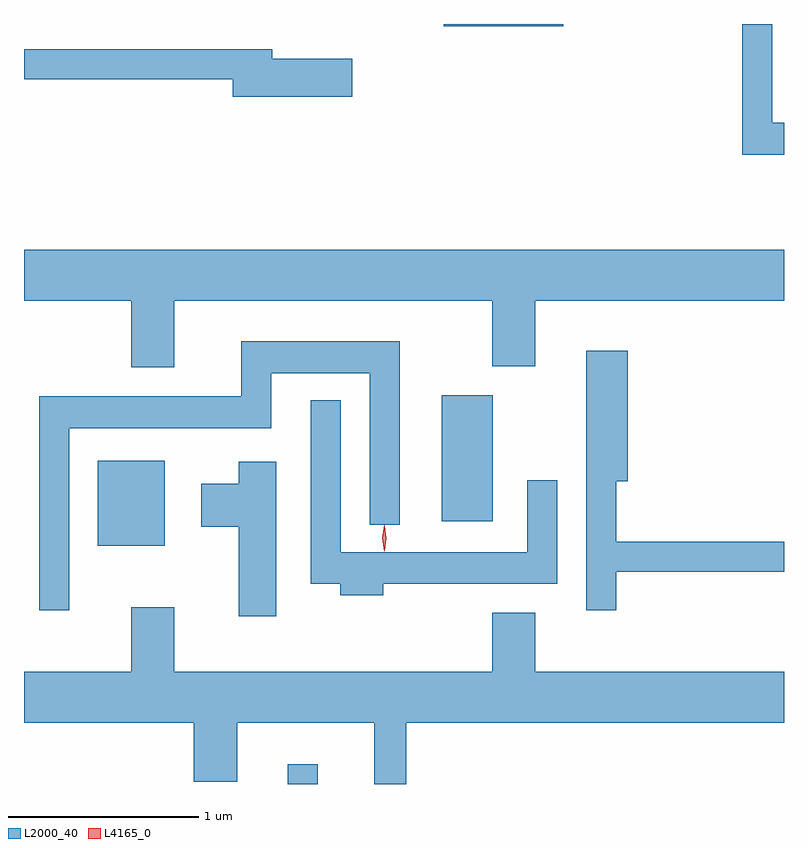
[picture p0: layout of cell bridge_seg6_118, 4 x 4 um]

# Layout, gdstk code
import gdstk
lib = gdstk.Library(unit=1e-6, precision=1e-09)
def R(c, l, rs):  # rectangles x0, y0, x1, y1
    for r in rs: c.add(gdstk.rectangle(r[:2], r[2:], *l))
def P(c, l, *ps):  # polygons
    for p in ps: c.add(gdstk.Polygon(p, *l))
L2000_40 = (2000, 40)
L4165_0 = (4165, 0)

bridge_seg6_118 = lib.new_cell('bridge_seg6_118')
R(bridge_seg6_118, L2000_40, [(1050.276,1605.213,1050.434,1605.318), (1049.276,1606.466,1049.629,1606.914), (1051.086,1606.596,1051.354,1607.259), (1051.096,1609.201,1051.724,1609.213)])
P(bridge_seg6_118, L2000_40, [(1052.887,1608.694),(1052.824,1608.694),(1052.824,1609.213),(1052.666,1609.213),(1052.666,1608.526),(1052.887,1608.526)],
  [(1050.614,1609.029),(1050.194,1609.029),(1050.194,1609.079),(1048.887,1609.079),(1048.887,1608.921),(1049.986,1608.921),(1049.986,1608.831),(1050.614,1608.831)],
  [(1049.679,1607.756),(1051.351,1607.756),(1051.351,1607.411),(1051.579,1607.411),(1051.579,1607.756),(1052.887,1607.756),(1052.887,1608.024),(1048.887,1608.024),(1048.887,1607.756),(1049.451,1607.756),(1049.451,1607.406),(1049.679,1607.406)],
  [(1049.124,1607.086),(1050.189,1607.086),(1050.189,1607.376),(1050.706,1607.376),(1050.706,1606.578),(1050.864,1606.578),(1050.864,1607.544),(1050.031,1607.544),(1050.031,1607.254),(1048.966,1607.254),(1048.966,1606.128),(1049.124,1606.128)],
  [(1052.004,1606.331),(1052.887,1606.331),(1052.887,1606.489),(1052.004,1606.489),(1052.004,1606.806),(1052.064,1606.806),(1052.064,1607.494),(1051.846,1607.494),(1051.846,1606.128),(1052.004,1606.128)],
  [(1050.779,1606.266),(1051.694,1606.266),(1051.694,1606.813),(1051.536,1606.813),(1051.536,1606.434),(1050.554,1606.434),(1050.554,1607.233),(1050.396,1607.233),(1050.396,1606.266),(1050.551,1606.266),(1050.551,1606.206),(1050.779,1606.206)],
  [(1050.214,1606.909),(1050.016,1606.909),(1050.016,1606.794),(1049.821,1606.794),(1049.821,1606.566),(1050.016,1606.566),(1050.016,1606.096),(1050.214,1606.096)],
  [(1050.899,1605.536),(1052.887,1605.536),(1052.887,1605.804),(1051.579,1605.804),(1051.579,1606.114),(1051.351,1606.114),(1051.351,1605.804),(1049.679,1605.804),(1049.679,1606.144),(1049.451,1606.144),(1049.451,1605.804),(1048.887,1605.804),(1048.887,1605.536),(1049.781,1605.536),(1049.781,1605.226),(1050.009,1605.226),(1050.009,1605.536),(1050.731,1605.536),(1050.731,1605.213),(1050.899,1605.213)])
P(bridge_seg6_118, L4165_0, [(1050.782,1606.437),(1050.782,1606.437),(1050.772,1606.507),(1050.782,1606.576),(1050.782,1606.576),(1050.783,1606.576),(1050.792,1606.507),(1050.783,1606.437)],
  [(1050.784,1606.439),(1050.784,1606.44),(1050.774,1606.506),(1050.784,1606.572),(1050.784,1606.573),(1050.785,1606.572),(1050.794,1606.506),(1050.785,1606.44)])

lib.write_gds('bridge_seg6_118.gds')
